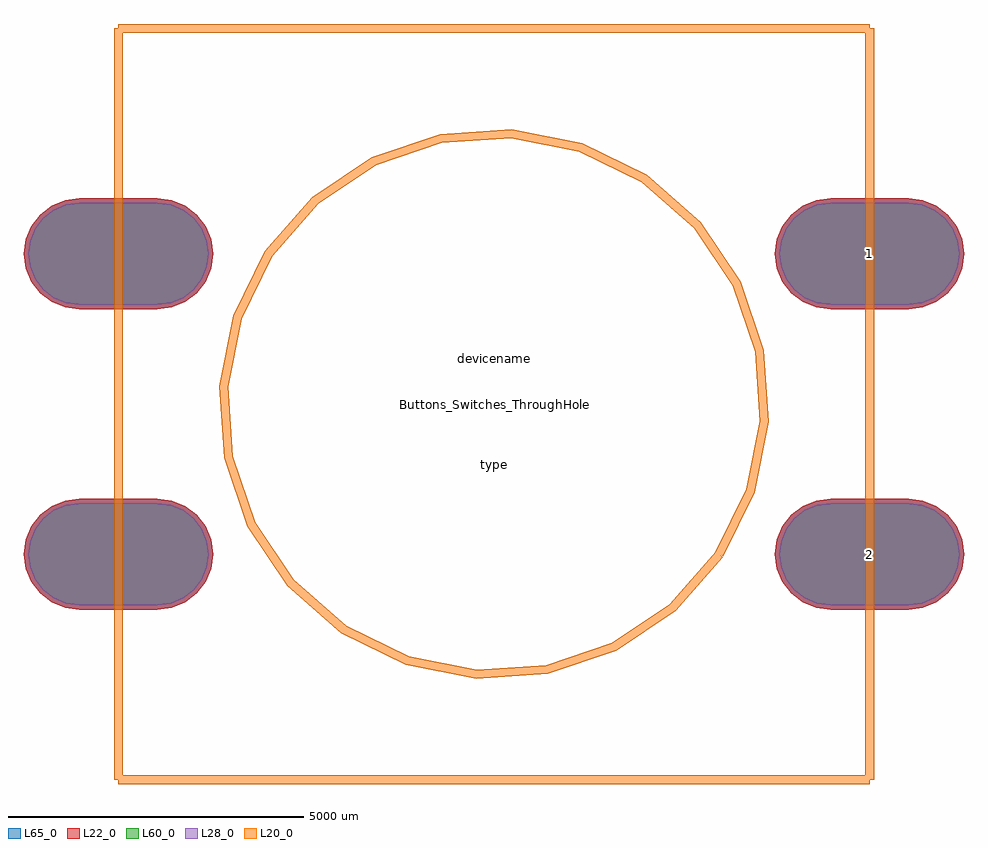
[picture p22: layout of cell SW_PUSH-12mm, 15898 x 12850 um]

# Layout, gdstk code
import gdstk
lib = gdstk.Library(unit=1e-6, precision=1e-09)
def P(c, l, *ps):  # polygons
    for p in ps: c.add(gdstk.Polygon(p, *l))
L20_0 = (20, 0)
L22_0 = (22, 0)
L28_0 = (28, 0)
L60_0 = (60, 0)
L65_0 = (65, 0)

sw_push_12mm = lib.new_cell('SW_PUSH-12mm')
P(sw_push_12mm, L22_0, [(-7010.4,-3478.6),(-5689.6,-3478.6),(-5446.672,-3446.618),(-5220.3,-3352.851),(-5025.91,-3203.69),(-4876.749,-3009.3),(-4782.982,-2782.928),(-4751,-2540),(-4782.982,-2297.072),(-4876.749,-2070.7),(-5025.91,-1876.31),(-5220.3,-1727.149),(-5446.672,-1633.382),(-5689.6,-1601.4),(-7010.4,-1601.4),(-7253.328,-1633.382),(-7479.7,-1727.149),(-7674.09,-1876.31),(-7823.251,-2070.7),(-7917.018,-2297.072),(-7949,-2540),(-7917.018,-2782.928),(-7823.251,-3009.3),(-7674.09,-3203.69),(-7479.7,-3352.851),(-7253.328,-3446.618)],
  [(-7010.4,1601.4),(-5689.6,1601.4),(-5446.672,1633.382),(-5220.3,1727.149),(-5025.91,1876.31),(-4876.749,2070.7),(-4782.982,2297.072),(-4751,2540),(-4782.982,2782.928),(-4876.749,3009.3),(-5025.91,3203.69),(-5220.3,3352.851),(-5446.672,3446.618),(-5689.6,3478.6),(-7010.4,3478.6),(-7253.328,3446.618),(-7479.7,3352.851),(-7674.09,3203.69),(-7823.251,3009.3),(-7917.018,2782.928),(-7949,2540),(-7917.018,2297.072),(-7823.251,2070.7),(-7674.09,1876.31),(-7479.7,1727.149),(-7253.328,1633.382)],
  [(5689.6,-3478.6),(7010.4,-3478.6),(7253.328,-3446.618),(7479.7,-3352.851),(7674.09,-3203.69),(7823.251,-3009.3),(7917.018,-2782.928),(7949,-2540),(7917.018,-2297.072),(7823.251,-2070.7),(7674.09,-1876.31),(7479.7,-1727.149),(7253.328,-1633.382),(7010.4,-1601.4),(5689.6,-1601.4),(5446.672,-1633.382),(5220.3,-1727.149),(5025.91,-1876.31),(4876.749,-2070.7),(4782.982,-2297.072),(4751,-2540),(4782.982,-2782.928),(4876.749,-3009.3),(5025.91,-3203.69),(5220.3,-3352.851),(5446.672,-3446.618)],
  [(5689.6,1601.4),(7010.4,1601.4),(7253.328,1633.382),(7479.7,1727.149),(7674.09,1876.31),(7823.251,2070.7),(7917.018,2297.072),(7949,2540),(7917.018,2782.928),(7823.251,3009.3),(7674.09,3203.69),(7479.7,3352.851),(7253.328,3446.618),(7010.4,3478.6),(5689.6,3478.6),(5446.672,3446.618),(5220.3,3352.851),(5025.91,3203.69),(4876.749,3009.3),(4782.982,2782.928),(4751,2540),(4782.982,2297.072),(4876.749,2070.7),(5025.91,1876.31),(5220.3,1727.149),(5446.672,1633.382)])
P(sw_push_12mm, L28_0, [(-7010.4,-3403.6),(-5689.6,-3403.6),(-5466.084,-3374.174),(-5257.8,-3287.9),(-5078.943,-3150.657),(-4941.7,-2971.8),(-4855.426,-2763.516),(-4826,-2540),(-4855.426,-2316.484),(-4941.7,-2108.2),(-5078.943,-1929.343),(-5257.8,-1792.1),(-5466.084,-1705.826),(-5689.6,-1676.4),(-7010.4,-1676.4),(-7233.916,-1705.826),(-7442.2,-1792.1),(-7621.057,-1929.343),(-7758.3,-2108.2),(-7844.574,-2316.484),(-7874,-2540),(-7844.574,-2763.516),(-7758.3,-2971.8),(-7621.057,-3150.657),(-7442.2,-3287.9),(-7233.916,-3374.174)],
  [(-7010.4,1676.4),(-5689.6,1676.4),(-5466.084,1705.826),(-5257.8,1792.1),(-5078.943,1929.343),(-4941.7,2108.2),(-4855.426,2316.484),(-4826,2540),(-4855.426,2763.516),(-4941.7,2971.8),(-5078.943,3150.657),(-5257.8,3287.9),(-5466.084,3374.174),(-5689.6,3403.6),(-7010.4,3403.6),(-7233.916,3374.174),(-7442.2,3287.9),(-7621.057,3150.657),(-7758.3,2971.8),(-7844.574,2763.516),(-7874,2540),(-7844.574,2316.484),(-7758.3,2108.2),(-7621.057,1929.343),(-7442.2,1792.1),(-7233.916,1705.826)],
  [(5689.6,-3403.6),(7010.4,-3403.6),(7233.916,-3374.174),(7442.2,-3287.9),(7621.057,-3150.657),(7758.3,-2971.8),(7844.574,-2763.516),(7874,-2540),(7844.574,-2316.484),(7758.3,-2108.2),(7621.057,-1929.343),(7442.2,-1792.1),(7233.916,-1705.826),(7010.4,-1676.4),(5689.6,-1676.4),(5466.084,-1705.826),(5257.8,-1792.1),(5078.943,-1929.343),(4941.7,-2108.2),(4855.426,-2316.484),(4826,-2540),(4855.426,-2763.516),(4941.7,-2971.8),(5078.943,-3150.657),(5257.8,-3287.9),(5466.084,-3374.174)],
  [(5689.6,1676.4),(7010.4,1676.4),(7233.916,1705.826),(7442.2,1792.1),(7621.057,1929.343),(7758.3,2108.2),(7844.574,2316.484),(7874,2540),(7844.574,2763.516),(7758.3,2971.8),(7621.057,3150.657),(7442.2,3287.9),(7233.916,3374.174),(7010.4,3403.6),(5689.6,3403.6),(5466.084,3374.174),(5257.8,3287.9),(5078.943,3150.657),(4941.7,2971.8),(4855.426,2763.516),(4826,2540),(4855.426,2316.484),(4941.7,2108.2),(5078.943,1929.343),(5257.8,1792.1),(5466.084,1705.826)])
P(sw_push_12mm, L60_0, [(-7010.4,-3403.6),(-5689.6,-3403.6),(-5466.084,-3374.174),(-5257.8,-3287.9),(-5078.943,-3150.657),(-4941.7,-2971.8),(-4855.426,-2763.516),(-4826,-2540),(-4855.426,-2316.484),(-4941.7,-2108.2),(-5078.943,-1929.343),(-5257.8,-1792.1),(-5466.084,-1705.826),(-5689.6,-1676.4),(-7010.4,-1676.4),(-7233.916,-1705.826),(-7442.2,-1792.1),(-7621.057,-1929.343),(-7758.3,-2108.2),(-7844.574,-2316.484),(-7874,-2540),(-7844.574,-2763.516),(-7758.3,-2971.8),(-7621.057,-3150.657),(-7442.2,-3287.9),(-7233.916,-3374.174)],
  [(-7010.4,1676.4),(-5689.6,1676.4),(-5466.084,1705.826),(-5257.8,1792.1),(-5078.943,1929.343),(-4941.7,2108.2),(-4855.426,2316.484),(-4826,2540),(-4855.426,2763.516),(-4941.7,2971.8),(-5078.943,3150.657),(-5257.8,3287.9),(-5466.084,3374.174),(-5689.6,3403.6),(-7010.4,3403.6),(-7233.916,3374.174),(-7442.2,3287.9),(-7621.057,3150.657),(-7758.3,2971.8),(-7844.574,2763.516),(-7874,2540),(-7844.574,2316.484),(-7758.3,2108.2),(-7621.057,1929.343),(-7442.2,1792.1),(-7233.916,1705.826)],
  [(5689.6,-3403.6),(7010.4,-3403.6),(7233.916,-3374.174),(7442.2,-3287.9),(7621.057,-3150.657),(7758.3,-2971.8),(7844.574,-2763.516),(7874,-2540),(7844.574,-2316.484),(7758.3,-2108.2),(7621.057,-1929.343),(7442.2,-1792.1),(7233.916,-1705.826),(7010.4,-1676.4),(5689.6,-1676.4),(5466.084,-1705.826),(5257.8,-1792.1),(5078.943,-1929.343),(4941.7,-2108.2),(4855.426,-2316.484),(4826,-2540),(4855.426,-2763.516),(4941.7,-2971.8),(5078.943,-3150.657),(5257.8,-3287.9),(5466.084,-3374.174)],
  [(5689.6,1676.4),(7010.4,1676.4),(7233.916,1705.826),(7442.2,1792.1),(7621.057,1929.343),(7758.3,2108.2),(7844.574,2316.484),(7874,2540),(7844.574,2763.516),(7758.3,2971.8),(7621.057,3150.657),(7442.2,3287.9),(7233.916,3374.174),(7010.4,3403.6),(5689.6,3403.6),(5466.084,3374.174),(5257.8,3287.9),(5078.943,3150.657),(4941.7,2971.8),(4855.426,2763.516),(4826,2540),(4855.426,2316.484),(4941.7,2108.2),(5078.943,1929.343),(5257.8,1792.1),(5466.084,1705.826)])
P(sw_push_12mm, L65_0, [(-7010.4,-3478.6),(-5689.6,-3478.6),(-5446.672,-3446.618),(-5220.3,-3352.851),(-5025.91,-3203.69),(-4876.749,-3009.3),(-4782.982,-2782.928),(-4751,-2540),(-4782.982,-2297.072),(-4876.749,-2070.7),(-5025.91,-1876.31),(-5220.3,-1727.149),(-5446.672,-1633.382),(-5689.6,-1601.4),(-7010.4,-1601.4),(-7253.328,-1633.382),(-7479.7,-1727.149),(-7674.09,-1876.31),(-7823.251,-2070.7),(-7917.018,-2297.072),(-7949,-2540),(-7917.018,-2782.928),(-7823.251,-3009.3),(-7674.09,-3203.69),(-7479.7,-3352.851),(-7253.328,-3446.618)],
  [(-7010.4,1601.4),(-5689.6,1601.4),(-5446.672,1633.382),(-5220.3,1727.149),(-5025.91,1876.31),(-4876.749,2070.7),(-4782.982,2297.072),(-4751,2540),(-4782.982,2782.928),(-4876.749,3009.3),(-5025.91,3203.69),(-5220.3,3352.851),(-5446.672,3446.618),(-5689.6,3478.6),(-7010.4,3478.6),(-7253.328,3446.618),(-7479.7,3352.851),(-7674.09,3203.69),(-7823.251,3009.3),(-7917.018,2782.928),(-7949,2540),(-7917.018,2297.072),(-7823.251,2070.7),(-7674.09,1876.31),(-7479.7,1727.149),(-7253.328,1633.382)],
  [(5689.6,-3478.6),(7010.4,-3478.6),(7253.328,-3446.618),(7479.7,-3352.851),(7674.09,-3203.69),(7823.251,-3009.3),(7917.018,-2782.928),(7949,-2540),(7917.018,-2297.072),(7823.251,-2070.7),(7674.09,-1876.31),(7479.7,-1727.149),(7253.328,-1633.382),(7010.4,-1601.4),(5689.6,-1601.4),(5446.672,-1633.382),(5220.3,-1727.149),(5025.91,-1876.31),(4876.749,-2070.7),(4782.982,-2297.072),(4751,-2540),(4782.982,-2782.928),(4876.749,-3009.3),(5025.91,-3203.69),(5220.3,-3352.851),(5446.672,-3446.618)],
  [(5689.6,1601.4),(7010.4,1601.4),(7253.328,1633.382),(7479.7,1727.149),(7674.09,1876.31),(7823.251,2070.7),(7917.018,2297.072),(7949,2540),(7917.018,2782.928),(7823.251,3009.3),(7674.09,3203.69),(7479.7,3352.851),(7253.328,3446.618),(7010.4,3478.6),(5689.6,3478.6),(5446.672,3446.618),(5220.3,3352.851),(5025.91,3203.69),(4876.749,3009.3),(4782.982,2782.928),(4751,2540),(4782.982,2297.072),(4876.749,2070.7),(5025.91,1876.31),(5220.3,1727.149),(5446.672,1633.382)])
sw_push_12mm.add(gdstk.FlexPath([(-6350,-6350),(-6350,6350)], 149.998, ends="flush", simple_path=True, layer=20, datatype=0))  # L20_0
sw_push_12mm.add(gdstk.FlexPath([(6350,-6350),(-6350,-6350)], 149.998, ends="flush", simple_path=True, layer=20, datatype=0))  # L20_0
sw_push_12mm.add(gdstk.FlexPath([(6350,6350),(6350,-6350)], 149.998, ends="flush", simple_path=True, layer=20, datatype=0))  # L20_0
sw_push_12mm.add(gdstk.FlexPath([(-6350,6350),(6350,6350)], 149.998, ends="flush", simple_path=True, layer=20, datatype=0))  # L20_0
sw_push_12mm.add(gdstk.FlexPath([(3810,-2540),(4337.578,-1467.351),(4569.557,-294.705),(4490.128,898.026),(4104.705,2029.557),(3439.552,3022.777),(2540,3810),(1467.351,4337.578),(294.705,4569.557),(-898.026,4490.128),(-2029.557,4104.705),(-3022.777,3439.552),(-3810,2540),(-4337.578,1467.351),(-4569.557,294.705),(-4490.128,-898.026),(-4104.705,-2029.557),(-3439.552,-3022.777),(-2540,-3810),(-1467.351,-4337.578),(-294.705,-4569.557),(898.026,-4490.128),(2029.557,-4104.705),(3022.777,-3439.552),(3810,-2540)], 149.998, ends="flush", simple_path=True, layer=20, datatype=0))  # L20_0
sw_push_12mm.add(gdstk.Label('Buttons_Switches_ThroughHole.3dshapes/SW_PUSH-12mm.wrl', (0,0), layer=12, texttype=0))
sw_push_12mm.add(gdstk.Label('2', (6350,-2540), layer=28, texttype=0))
sw_push_12mm.add(gdstk.Label('1', (6350,2540), layer=28, texttype=0))
sw_push_12mm.add(gdstk.Label('type', (0,-1016), layer=9, texttype=0))
sw_push_12mm.add(gdstk.Label('devicename', (0,762), layer=9, texttype=0))

lib.write_gds('SW_PUSH-12mm.gds')
